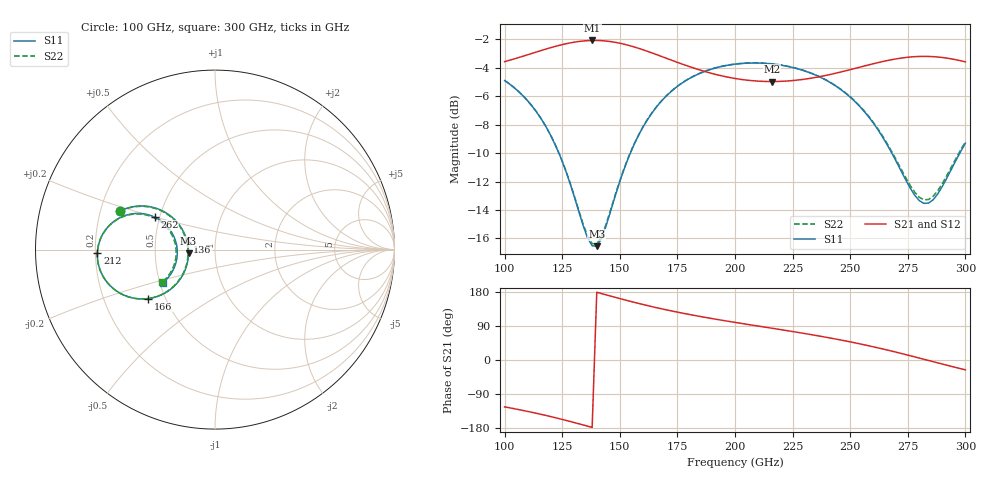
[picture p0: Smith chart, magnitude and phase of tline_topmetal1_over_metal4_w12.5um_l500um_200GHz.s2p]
#  GHZ S DB R 50
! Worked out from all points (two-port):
!   101 points, 100 GHz to 300 GHz, reference 50 ohm
!   highest |S21| = -2.07 dB at 138 GHz (marker M1); lowest = -5.0 dB at 216 GHz (marker M2)
!   |S21| within 3 dB of the highest: start of sweep to end of sweep
!   lowest |S11| = -16.5 dB at 140 GHz (marker M3), VSWR 1.35, Z = 37.1 - j1.53 ohm
!   |S11| at or under -10 dB: 123.5 GHz to 154.6 GHz (31.03 GHz wide, 22.3 % of centre); 268.1 GHz to 297.6 GHz (29.49 GHz wide, 10.4 % of centre)
!   |S22| runs from -16.4 to -3.6 dB; largest |S21 - S12| = 7.8e-14
!   S11 on the Smith chart (normalised r, x): 100 GHz: 0.28, +0.18; 136 GHz: 0.73, +0.06; 166 GHz: 0.40, -0.28; 212 GHz: 0.21, -0.01; 262 GHz: 0.47, +0.20; 300 GHz: 0.52, -0.22
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100  -4.89 157.8  -3.56 -123.7  -3.56 -123.7  -4.88 158.0
118  -8.15 144.5  -2.67 -146.5  -2.67 -146.5  -8.14 144.9
126  -11.00 143.3  -2.33 -158.4  -2.33 -158.4  -10.97 143.8
134  -15.05 156.8  -2.11 -171.2  -2.11 -171.2  -14.94 157.4
136  -15.96 165.3  -2.08 -174.6  -2.08 -174.6  -15.82 165.8
138  -16.51 176.0  -2.07 -177.9  -2.07 -177.9  -16.36 176.3
140  -16.54 -172.2  -2.07 178.7  -2.07 178.7  -16.38 -172.2
148  -13.01 -142.3  -2.20 165.4  -2.20 165.4  -12.94 -142.7
156  -9.46 -138.2  -2.52 152.6  -2.52 152.6  -9.43 -138.5
166  -6.73 -143.6  -3.07 138.0  -3.07 138.0  -6.71 -143.8
168  -6.35 -145.2  -3.19 135.3  -3.19 135.3  -6.33 -145.3
184  -4.44 -158.0  -4.11 115.8  -4.11 115.8  -4.43 -158.0
200  -3.74 -170.0  -4.74 99.3  -4.74 99.3  -3.73 -170.0
212  -3.67 -178.5  -4.95 87.7  -4.95 87.7  -3.66 -178.4
216  -3.72 178.7  -4.96 83.9  -4.96 83.9  -3.71 178.9
234  -4.44 166.5  -4.70 66.0  -4.70 66.0  -4.43 166.8
250  -6.06 156.3  -4.12 47.8  -4.12 47.8  -6.03 156.8
262  -8.34 151.7  -3.63 32.1  -3.63 32.1  -8.28 152.4
268  -9.98 152.7  -3.42 23.5  -3.42 23.5  -9.88 153.5
278  -12.96 167.6  -3.21 8.2  -3.21 8.2  -12.74 168.2
284  -13.51 -174.0  -3.20 -1.2  -3.20 -1.2  -13.26 -174.0
300  -9.30 -147.6  -3.58 -26.0  -3.58 -26.0  -9.20 -148.3
